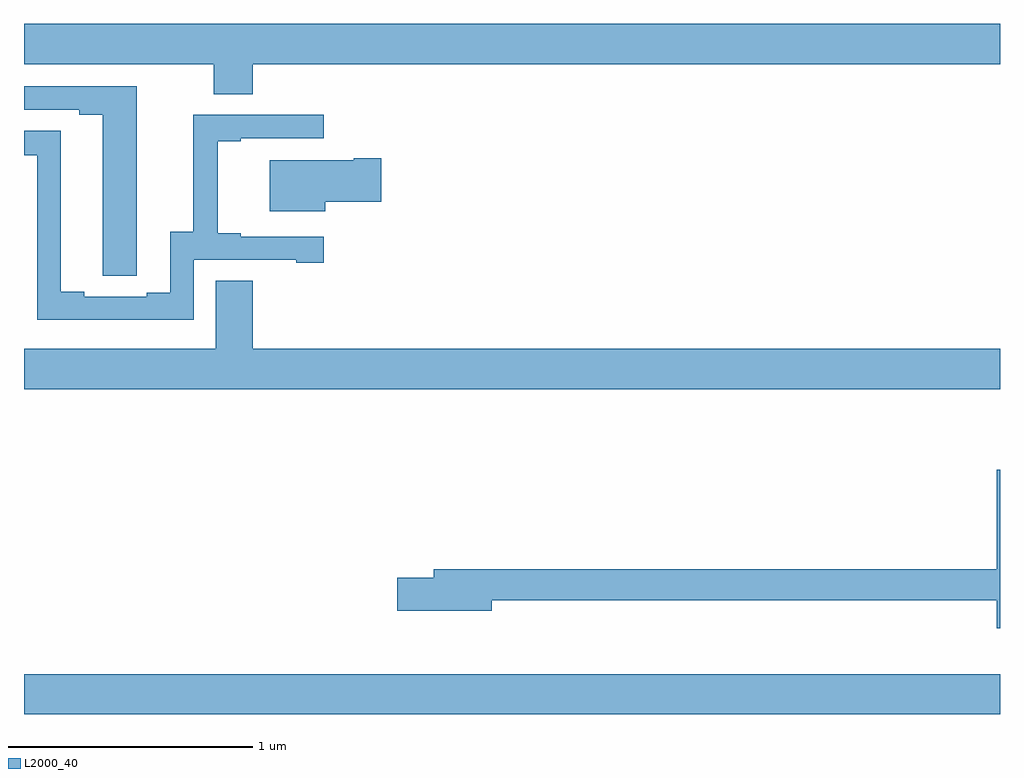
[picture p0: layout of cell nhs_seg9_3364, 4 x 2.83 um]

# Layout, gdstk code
import gdstk
lib = gdstk.Library(unit=1e-6, precision=1e-09)
def R(c, l, rs):  # rectangles x0, y0, x1, y1
    for r in rs: c.add(gdstk.rectangle(r[:2], r[2:], *l))
def P(c, l, *ps):  # polygons
    for p in ps: c.add(gdstk.Polygon(p, *l))
L2000_40 = (2000, 40)

nhs_seg9_3364 = lib.new_cell('nhs_seg9_3364')
R(nhs_seg9_3364, L2000_40, [(303,1203.08,307,1203.244)])
P(nhs_seg9_3364, L2000_40, [(303.938,1205.744),(307,1205.744),(307,1205.908),(303,1205.908),(303,1205.744),(303.778,1205.744),(303.778,1205.62),(303.938,1205.62)],
  [(303.462,1204.984),(303.463,1204.984),(303.463,1205.652),(303,1205.652),(303,1205.556),(303.227,1205.556),(303.227,1205.536),(303.323,1205.536),(303.323,1204.876),(303.462,1204.876)],
  [(303.696,1204.941),(304.115,1204.941),(304.115,1204.929),(304.228,1204.929),(304.228,1205.037),(303.889,1205.037),(303.889,1205.05),(303.794,1205.05),(303.794,1205.427),(303.889,1205.427),(303.889,1205.439),(304.228,1205.439),(304.228,1205.535),(303.694,1205.535),(303.694,1205.057),(303.599,1205.057),(303.599,1204.806),(303.503,1204.806),(303.503,1204.791),(303.247,1204.791),(303.247,1204.811),(303.151,1204.811),(303.151,1205.471),(303,1205.471),(303,1205.37),(303.054,1205.37),(303.054,1204.695),(303.696,1204.695)],
  [(304.234,1205.18),(304.465,1205.18),(304.465,1205.358),(304.352,1205.358),(304.352,1205.35),(304.007,1205.35),(304.007,1205.141),(304.234,1205.141)],
  [(307,1204.576),(303.938,1204.576),(303.938,1204.856),(303.785,1204.856),(303.785,1204.576),(303,1204.576),(303,1204.412),(307,1204.412)],
  [(307,1204.081),(306.986,1204.081),(306.986,1203.674),(304.679,1203.674),(304.679,1203.638),(304.53,1203.638),(304.53,1203.503),(304.918,1203.503),(304.918,1203.546),(306.986,1203.546),(306.986,1203.432),(307,1203.432)])

lib.write_gds('nhs_seg9_3364.gds')
